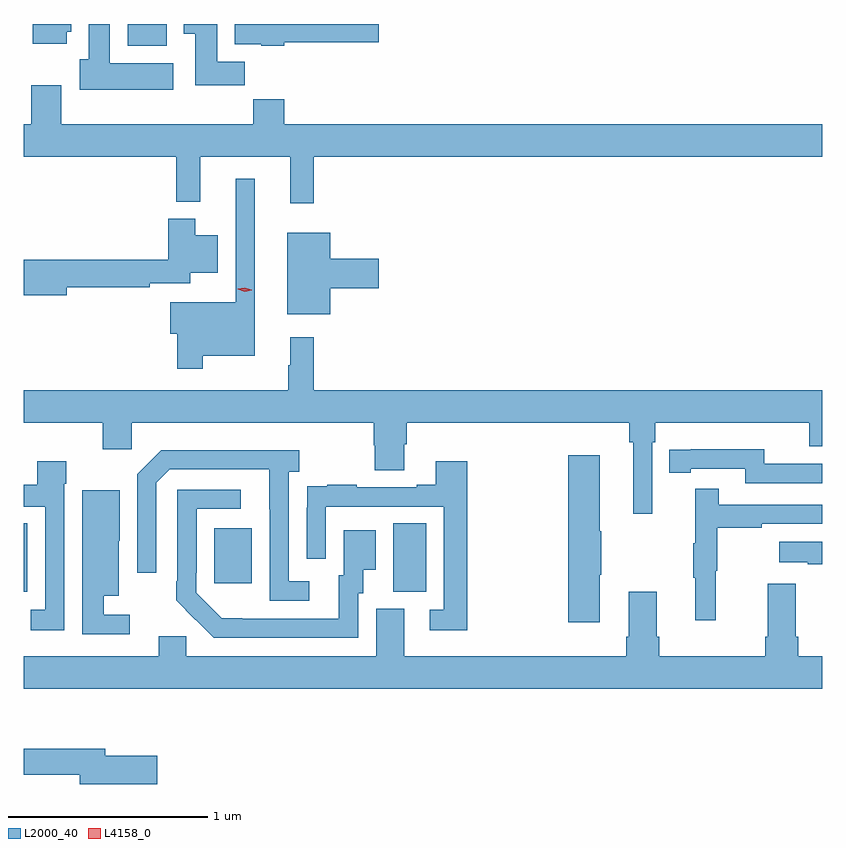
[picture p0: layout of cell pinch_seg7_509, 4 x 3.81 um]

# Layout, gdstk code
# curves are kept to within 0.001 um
import gdstk
lib = gdstk.Library(unit=1e-6, precision=1e-09)
def R(c, l, rs):  # rectangles x0, y0, x1, y1
    for r in rs: c.add(gdstk.rectangle(r[:2], r[2:], *l))
def P(c, l, *ps):  # polygons
    for p in ps: c.add(gdstk.Polygon(p, *l))
L2000_40 = (2000, 40)
L4158_0 = (4158, 0)

pinch_seg7_509 = lib.new_cell('pinch_seg7_509')
R(pinch_seg7_509, L2000_40, [(142.198,1059.709,142.216,1060.052), (144.05,1059.709,144.214,1060.052), (143.153,1059.753,143.341,1060.027), (142.718,1062.446,142.915,1062.554)])
P(pinch_seg7_509, L2000_40, [(143.502,1062.463),(143.977,1062.463),(143.977,1062.554),(143.255,1062.554),(143.255,1062.452),(143.388,1062.452),(143.388,1062.446),(143.502,1062.446)],
  [(142.948,1062.358),(142.63,1062.358),(142.63,1062.554),(142.523,1062.554),(142.523,1062.378),(142.478,1062.378),(142.478,1062.224),(142.948,1062.224)],
  [(142.414,1062.516),(142.435,1062.516),(142.435,1062.554),(142.244,1062.554),(142.244,1062.456),(142.414,1062.456)],
  [(143.306,1062.364),(143.167,1062.364),(143.167,1062.554),(143,1062.554),(143,1062.505),(143.057,1062.505),(143.057,1062.246),(143.306,1062.246)],
  [(143.651,1061.888),(146.198,1061.888),(146.198,1062.052),(143.504,1062.052),(143.504,1062.176),(143.347,1062.176),(143.347,1062.052),(142.387,1062.052),(142.387,1062.247),(142.235,1062.247),(142.235,1062.052),(142.198,1062.052),(142.198,1061.888),(142.963,1061.888),(142.963,1061.663),(143.081,1061.663),(143.081,1061.888),(143.534,1061.888),(143.534,1061.655),(143.651,1061.655)],
  [(143.095,1060.892),(143.356,1060.892),(143.356,1061.779),(143.259,1061.779),(143.259,1061.161),(142.932,1061.161),(142.932,1061.003),(142.966,1061.003),(142.966,1060.827),(143.095,1060.827)],
  [(142.414,1061.236),(142.828,1061.236),(142.828,1061.256),(143.031,1061.256),(143.031,1061.309),(143.17,1061.309),(143.17,1061.497),(143.056,1061.497),(143.056,1061.578),(142.922,1061.578),(142.922,1061.372),(142.198,1061.372),(142.198,1061.194),(142.414,1061.194)],
  [(143.734,1061.231),(143.977,1061.231),(143.977,1061.378),(143.734,1061.378),(143.734,1061.509),(143.519,1061.509),(143.519,1061.099),(143.734,1061.099)],
  [(145.347,1060.46),(145.361,1060.46),(145.361,1060.556),(146.132,1060.556),(146.132,1060.439),(146.198,1060.439),(146.198,1060.72),(143.651,1060.72),(143.651,1060.984),(143.534,1060.984),(143.534,1060.844),(143.523,1060.844),(143.523,1060.72),(142.198,1060.72),(142.198,1060.556),(142.594,1060.556),(142.594,1060.425),(142.74,1060.425),(142.74,1060.556),(143.951,1060.556),(143.951,1060.443),(143.956,1060.443),(143.956,1060.318),(144.103,1060.318),(144.103,1060.45),(144.116,1060.45),(144.116,1060.556),(145.231,1060.556),(145.231,1060.46),(145.25,1060.46),(145.25,1060.101),(145.347,1060.101)],
  [(146.198,1060.35),(145.908,1060.35),(145.908,1060.423),(145.54,1060.423),(145.54,1060.422),(145.432,1060.422),(145.432,1060.306),(145.54,1060.306),(145.54,1060.326),(145.812,1060.326),(145.812,1060.254),(146.198,1060.254)],
  [(143.629,1059.762),(143.526,1059.762),(143.526,1060.31),(143.578,1060.31),(143.578,1060.42),(142.888,1060.42),(142.767,1060.299),(142.767,1059.804),(142.863,1059.804),(142.863,1060.257),(142.929,1060.323),(143.429,1060.323),(143.43,1059.666),(143.629,1059.666)],
  [(145.084,1059.796),(145.092,1059.796),(145.092,1060.013),(145.084,1060.013),(145.084,1060.393),(144.926,1060.393),(144.926,1059.558),(145.084,1059.558)],
  [(142.401,1060.25),(142.41,1060.25),(142.41,1060.363),(142.265,1060.363),(142.265,1060.246),(142.198,1060.246),(142.198,1060.137),(142.305,1060.137),(142.305,1059.621),(142.233,1059.621),(142.233,1059.516),(142.401,1059.516)],
  [(144.419,1060.363),(144.263,1060.363),(144.263,1060.246),(144.167,1060.246),(144.167,1060.233),(143.867,1060.233),(143.867,1060.246),(143.719,1060.246),(143.719,1060.239),(143.617,1060.239),(143.617,1060.13),(143.616,1060.13),(143.616,1059.876),(143.712,1059.876),(143.712,1060.137),(144.303,1060.137),(144.303,1059.621),(144.231,1059.621),(144.231,1059.516),(144.419,1059.516)],
  [(145.664,1059.816),(145.672,1059.816),(145.672,1060.03),(145.895,1060.03),(145.895,1060.05),(146.198,1060.05),(146.198,1060.146),(145.679,1060.146),(145.679,1060.225),(145.562,1060.225),(145.562,1059.953),(145.551,1059.953),(145.551,1059.779),(145.562,1059.779),(145.562,1059.567),(145.664,1059.567)],
  [(143.874,1059.702),(143.899,1059.702),(143.899,1059.821),(143.962,1059.821),(143.962,1060.018),(143.801,1060.018),(143.801,1059.792),(143.777,1059.792),(143.777,1059.576),(143.19,1059.577),(143.061,1059.705),(143.061,1059.805),(143.064,1059.805),(143.064,1060.125),(143.284,1060.125),(143.284,1060.221),(142.968,1060.221),(142.968,1059.763),(142.961,1059.763),(142.961,1059.668),(143.058,1059.57),(143.059,1059.571),(143.15,1059.48),(143.874,1059.48)],
  [(142.729,1059.594),(142.6,1059.594),(142.6,1059.689),(142.675,1059.689),(142.675,1059.966),(142.678,1059.966),(142.678,1060.219),(142.49,1060.219),(142.49,1059.793),(142.491,1059.793),(142.491,1059.498),(142.729,1059.498)],
  [(146.198,1059.961),(145.983,1059.961),(145.983,1059.857),(146.126,1059.857),(146.126,1059.847),(146.198,1059.847)],
  [(146.198,1059.388),(146.078,1059.388),(146.078,1059.484),(146.065,1059.484),(146.065,1059.751),(145.925,1059.751),(145.925,1059.484),(145.913,1059.484),(145.913,1059.388),(145.382,1059.388),(145.382,1059.484),(145.369,1059.484),(145.369,1059.709),(145.229,1059.709),(145.229,1059.484),(145.217,1059.484),(145.217,1059.388),(144.103,1059.388),(144.103,1059.624),(143.963,1059.624),(143.963,1059.388),(143.013,1059.388),(143.013,1059.486),(142.874,1059.486),(142.874,1059.388),(142.198,1059.388),(142.198,1059.224),(146.198,1059.224)],
  [(142.867,1058.889),(142.606,1058.889),(142.606,1058.923),(142.198,1058.923),(142.198,1058.794),(142.478,1058.794),(142.478,1058.747),(142.867,1058.747)])
P(pinch_seg7_509, L4158_0, [(143.304,1061.214),(143.27,1061.226),(143.269,1061.226),(143.27,1061.227),(143.306,1061.234),(143.34,1061.222),(143.34,1061.221),(143.34,1061.221)])

lib.write_gds('pinch_seg7_509.gds')
